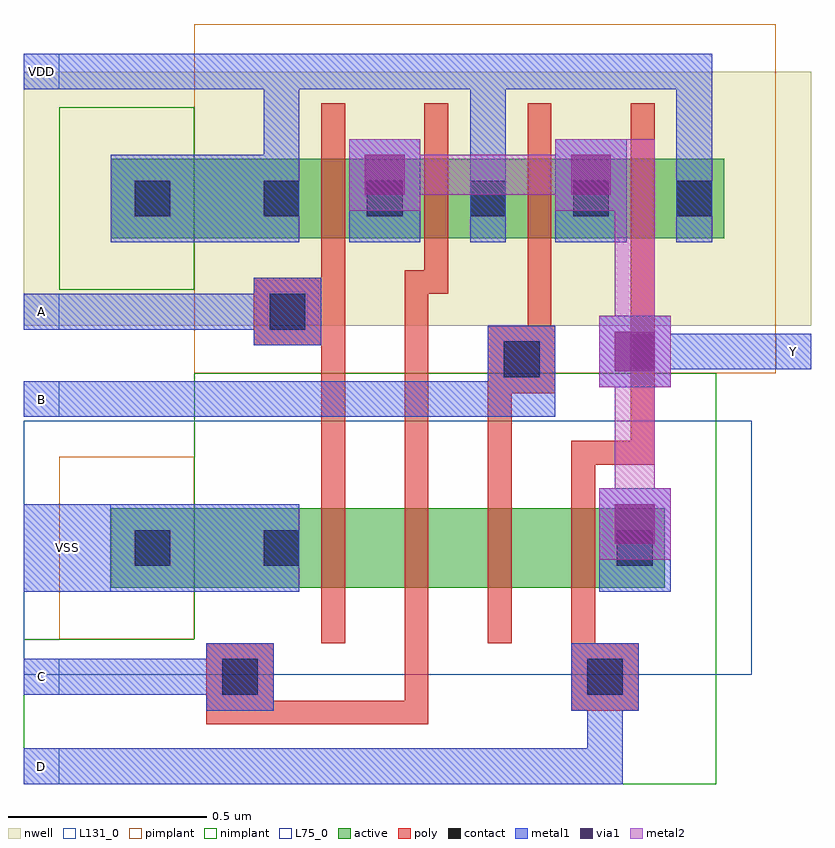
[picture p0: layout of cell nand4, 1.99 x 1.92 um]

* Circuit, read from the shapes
.subckt nand4 A B C D VDD VSS Y
M1 n1 A VSS VSS nfet w=0.2u l=0.06u
M2 n2 C n1 VSS nfet w=0.2u l=0.06u
M3 n3 B n2 VSS nfet w=0.2u l=0.06u
M4 Y D n3 VSS nfet w=0.2u l=0.06u
M5 Y A VDD VDD pfet w=0.2u l=0.06u
M6 VDD C Y VDD pfet w=0.2u l=0.06u
M7 Y B VDD VDD pfet w=0.2u l=0.06u
M8 VDD D Y VDD pfet w=0.2u l=0.06u
.ends

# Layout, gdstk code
from math import pi, radians
import gdstk
lib = gdstk.Library(unit=1e-6, precision=1e-09)
def R(c, l, rs):  # rectangles x0, y0, x1, y1
    for r in rs: c.add(gdstk.rectangle(r[:2], r[2:], *l))
nwell = (3, 0)
active = (6, 0)
poly = (17, 0)
pimplant = (25, 0)
nimplant = (26, 0)
contact = (30, 0)
metal1 = (31, 0)
metal2 = (32, 0)
via1 = (51, 0)
L75_0 = (75, 0)
L131_0 = (131, 0)

pch_cdns_683789228350 = lib.new_cell('pch_CDNS_683789228350')
R(pch_cdns_683789228350, nwell, [(-0.395,-0.22,0.305,0.42)])
R(pch_cdns_683789228350, active, [(-0.175,0,0,0.2), (0,0,0.06,0.2), (0.06,0,0.085,0.2)])
R(pch_cdns_683789228350, poly, [(0,-0.14,0.06,0), (0,0,0.06,0.2), (0,0.2,0.06,0.34)])
R(pch_cdns_683789228350, pimplant, [(-0.305,-0.34,0.215,0.54)])
R(pch_cdns_683789228350, contact, [(-0.145,0.055,-0.055,0.145)])
R(pch_cdns_683789228350, metal1, [(-0.145,-0.01,-0.055,0.21)])
pch_cdns_683789228350.add(gdstk.Label('& SerialNumber 000000', (0,0), layer=63, texttype=63))
pch_cdns_683789228350.add(gdstk.Label('& Distributor TSMC', (0,0), layer=63, texttype=63))
pch_cdns_683789228350.add(gdstk.Label('& Metric 1', (0,0), layer=63, texttype=63))
pch_cdns_683789228350.add(gdstk.Label('& PDK TechNode "CRN65LP"', (0,0), layer=63, texttype=63))
pch_cdns_683789228350.add(gdstk.Label('& Product    tsmcN65_PDK', (0,0), layer=63, texttype=63))
pch_cdns_683789228350.add(gdstk.Label('& Vendor     Taiwan Semiconductor manufacturing Corp.', (0,0), layer=63, texttype=63))
pch_cdns_683789228350.add(gdstk.Label('[@instanceName]', (0.03,0.1), layer=127, texttype=0))
pch_cdns_683789228350.add(gdstk.Label('pch\n0.2/0.06\n', (0,0), layer=127, texttype=0))
pch_cdns_683789228350.add(gdstk.Label('S', (-0.1,0.1), layer=127, texttype=0))

nch_cdns_683789228351 = lib.new_cell('nch_CDNS_683789228351')
R(nch_cdns_683789228351, active, [(-0.53,0,-0.32,0.2), (-0.32,0,0,0.2), (0,0,0.06,0.2), (0.06,0,0.135,0.2)])
R(nch_cdns_683789228351, poly, [(0,-0.14,0.06,0), (0,0,0.06,0.2), (0,0.2,0.06,0.34)])
R(nch_cdns_683789228351, pimplant, [(-0.66,-0.13,-0.32,0.33)])
R(nch_cdns_683789228351, nimplant, [(-0.32,-0.34,0.265,0.54)])
R(nch_cdns_683789228351, contact, [(-0.47,0.055,-0.38,0.145), (-0.145,0.055,-0.055,0.145)])
R(nch_cdns_683789228351, metal1, [(-0.32,-0.01,-0.145,0.21), (-0.145,-0.01,-0.055,0.21)])
R(nch_cdns_683789228351, L75_0, [(-0.75,-0.22,0.355,0.42)])
nch_cdns_683789228351.add(gdstk.FlexPath([(-0.425,-0.01),(-0.425,0.21)], 0.21, ends="flush", simple_path=True, layer=31, datatype=0))  # metal1
nch_cdns_683789228351.add(gdstk.Label('& SerialNumber 000000', (0,0), layer=63, texttype=63))
nch_cdns_683789228351.add(gdstk.Label('& Distributor TSMC', (0,0), layer=63, texttype=63))
nch_cdns_683789228351.add(gdstk.Label('& Metric 1', (0,0), layer=63, texttype=63))
nch_cdns_683789228351.add(gdstk.Label('& PDK TechNode "CRN65LP"', (0,0), layer=63, texttype=63))
nch_cdns_683789228351.add(gdstk.Label('& Product    tsmcN65_PDK', (0,0), layer=63, texttype=63))
nch_cdns_683789228351.add(gdstk.Label('& Vendor     Taiwan Semiconductor manufacturing Corp.', (0,0), layer=63, texttype=63))
nch_cdns_683789228351.add(gdstk.Label('[@instanceName]', (0.03,0.1), layer=127, texttype=0))
nch_cdns_683789228351.add(gdstk.Label('nch\n0.2/0.06\n', (0,0), layer=127, texttype=0))
nch_cdns_683789228351.add(gdstk.Label('B', (-0.425,0.1), layer=127, texttype=0))
nch_cdns_683789228351.add(gdstk.Label('S', (-0.1,0.1), layer=127, texttype=0))

pch_cdns_683789228352 = lib.new_cell('pch_CDNS_683789228352')
R(pch_cdns_683789228352, nwell, [(-0.75,-0.22,0.455,0.42)])
R(pch_cdns_683789228352, active, [(-0.53,0,-0.32,0.2), (-0.32,0,0,0.2), (0,0,0.06,0.2), (0.06,0,0.235,0.2)])
R(pch_cdns_683789228352, poly, [(0,-0.14,0.06,0), (0,0,0.06,0.2), (0,0.2,0.06,0.34)])
R(pch_cdns_683789228352, pimplant, [(-0.32,-0.34,0.365,0.54)])
R(pch_cdns_683789228352, nimplant, [(-0.66,-0.13,-0.32,0.33)])
R(pch_cdns_683789228352, contact, [(-0.47,0.055,-0.38,0.145), (-0.145,0.055,-0.055,0.145), (0.115,0.055,0.205,0.145)])
R(pch_cdns_683789228352, metal1, [(-0.32,-0.01,-0.145,0.21), (-0.145,-0.01,-0.055,0.21), (0.115,-0.01,0.205,0.21)])
pch_cdns_683789228352.add(gdstk.FlexPath([(-0.425,-0.01),(-0.425,0.21)], 0.21, ends="flush", simple_path=True, layer=31, datatype=0))  # metal1
pch_cdns_683789228352.add(gdstk.Label('& SerialNumber 000000', (0,0), layer=63, texttype=63))
pch_cdns_683789228352.add(gdstk.Label('& Distributor TSMC', (0,0), layer=63, texttype=63))
pch_cdns_683789228352.add(gdstk.Label('& Metric 1', (0,0), layer=63, texttype=63))
pch_cdns_683789228352.add(gdstk.Label('& PDK TechNode "CRN65LP"', (0,0), layer=63, texttype=63))
pch_cdns_683789228352.add(gdstk.Label('& Product    tsmcN65_PDK', (0,0), layer=63, texttype=63))
pch_cdns_683789228352.add(gdstk.Label('& Vendor     Taiwan Semiconductor manufacturing Corp.', (0,0), layer=63, texttype=63))
pch_cdns_683789228352.add(gdstk.Label('[@instanceName]', (0.03,0.1), layer=127, texttype=0))
pch_cdns_683789228352.add(gdstk.Label('pch\n0.2/0.06\n', (0,0), layer=127, texttype=0))
pch_cdns_683789228352.add(gdstk.Label('B', (-0.425,0.1), layer=127, texttype=0))
pch_cdns_683789228352.add(gdstk.Label('D', (0.16,0.1), layer=127, texttype=0))
pch_cdns_683789228352.add(gdstk.Label('S', (-0.1,0.1), layer=127, texttype=0))

nch_cdns_683789228353 = lib.new_cell('nch_CDNS_683789228353')
R(nch_cdns_683789228353, active, [(-0.075,0,0,0.2), (0,0,0.06,0.2), (0.06,0,0.235,0.2)])
R(nch_cdns_683789228353, poly, [(0,-0.14,0.06,0), (0,0,0.06,0.2), (0,0.2,0.06,0.34)])
R(nch_cdns_683789228353, nimplant, [(-0.205,-0.34,0.365,0.54)])
R(nch_cdns_683789228353, contact, [(0.115,0.055,0.205,0.145)])
R(nch_cdns_683789228353, metal1, [(0.115,-0.01,0.205,0.21)])
R(nch_cdns_683789228353, L75_0, [(-0.295,-0.22,0.455,0.42)])
nch_cdns_683789228353.add(gdstk.Label('& SerialNumber 000000', (0,0), layer=63, texttype=63))
nch_cdns_683789228353.add(gdstk.Label('& Distributor TSMC', (0,0), layer=63, texttype=63))
nch_cdns_683789228353.add(gdstk.Label('& Metric 1', (0,0), layer=63, texttype=63))
nch_cdns_683789228353.add(gdstk.Label('& PDK TechNode "CRN65LP"', (0,0), layer=63, texttype=63))
nch_cdns_683789228353.add(gdstk.Label('& Product    tsmcN65_PDK', (0,0), layer=63, texttype=63))
nch_cdns_683789228353.add(gdstk.Label('& Vendor     Taiwan Semiconductor manufacturing Corp.', (0,0), layer=63, texttype=63))
nch_cdns_683789228353.add(gdstk.Label('[@instanceName]', (0.03,0.1), layer=127, texttype=0))
nch_cdns_683789228353.add(gdstk.Label('nch\n0.2/0.06\n', (0,0), layer=127, texttype=0))
nch_cdns_683789228353.add(gdstk.Label('D', (0.16,0.1), layer=127, texttype=0))

pch_cdns_683789228354 = lib.new_cell('pch_CDNS_683789228354')
R(pch_cdns_683789228354, nwell, [(-0.395,-0.22,0.455,0.42)])
R(pch_cdns_683789228354, active, [(-0.175,0,0,0.2), (0,0,0.06,0.2), (0.06,0,0.235,0.2)])
R(pch_cdns_683789228354, poly, [(0,-0.14,0.06,0), (0,0,0.06,0.2), (0,0.2,0.06,0.34)])
R(pch_cdns_683789228354, pimplant, [(-0.305,-0.34,0.365,0.54)])
R(pch_cdns_683789228354, contact, [(-0.145,0.055,-0.055,0.145), (0.115,0.055,0.205,0.145)])
R(pch_cdns_683789228354, metal1, [(-0.145,-0.01,-0.055,0.21), (0.115,-0.01,0.205,0.21)])
pch_cdns_683789228354.add(gdstk.Label('& SerialNumber 000000', (0,0), layer=63, texttype=63))
pch_cdns_683789228354.add(gdstk.Label('& Distributor TSMC', (0,0), layer=63, texttype=63))
pch_cdns_683789228354.add(gdstk.Label('& Metric 1', (0,0), layer=63, texttype=63))
pch_cdns_683789228354.add(gdstk.Label('& PDK TechNode "CRN65LP"', (0,0), layer=63, texttype=63))
pch_cdns_683789228354.add(gdstk.Label('& Product    tsmcN65_PDK', (0,0), layer=63, texttype=63))
pch_cdns_683789228354.add(gdstk.Label('& Vendor     Taiwan Semiconductor manufacturing Corp.', (0,0), layer=63, texttype=63))
pch_cdns_683789228354.add(gdstk.Label('[@instanceName]', (0.03,0.1), layer=127, texttype=0))
pch_cdns_683789228354.add(gdstk.Label('pch\n0.2/0.06\n', (0,0), layer=127, texttype=0))
pch_cdns_683789228354.add(gdstk.Label('D', (0.16,0.1), layer=127, texttype=0))
pch_cdns_683789228354.add(gdstk.Label('S', (-0.1,0.1), layer=127, texttype=0))

pch_cdns_683789228355 = lib.new_cell('pch_CDNS_683789228355')
R(pch_cdns_683789228355, nwell, [(-0.245,-0.22,0.305,0.42)])
R(pch_cdns_683789228355, active, [(-0.025,0,0,0.2), (0,0,0.06,0.2), (0.06,0,0.085,0.2)])
R(pch_cdns_683789228355, poly, [(0,-0.14,0.06,0), (0,0,0.06,0.2), (0,0.2,0.06,0.34)])
R(pch_cdns_683789228355, pimplant, [(-0.155,-0.34,0.215,0.54)])
pch_cdns_683789228355.add(gdstk.Label('& SerialNumber 000000', (0,0), layer=63, texttype=63))
pch_cdns_683789228355.add(gdstk.Label('& Distributor TSMC', (0,0), layer=63, texttype=63))
pch_cdns_683789228355.add(gdstk.Label('& Metric 1', (0,0), layer=63, texttype=63))
pch_cdns_683789228355.add(gdstk.Label('& PDK TechNode "CRN65LP"', (0,0), layer=63, texttype=63))
pch_cdns_683789228355.add(gdstk.Label('& Product    tsmcN65_PDK', (0,0), layer=63, texttype=63))
pch_cdns_683789228355.add(gdstk.Label('& Vendor     Taiwan Semiconductor manufacturing Corp.', (0,0), layer=63, texttype=63))
pch_cdns_683789228355.add(gdstk.Label('[@instanceName]', (0.03,0.1), layer=127, texttype=0))
pch_cdns_683789228355.add(gdstk.Label('pch\n0.2/0.06\n', (0,0), layer=127, texttype=0))

nch_cdns_683789228356 = lib.new_cell('nch_CDNS_683789228356')
R(nch_cdns_683789228356, active, [(-0.075,0,0,0.2), (0,0,0.06,0.2), (0.06,0,0.135,0.2)])
R(nch_cdns_683789228356, poly, [(0,-0.14,0.06,0), (0,0,0.06,0.2), (0,0.2,0.06,0.34)])
R(nch_cdns_683789228356, nimplant, [(-0.205,-0.34,0.265,0.54)])
R(nch_cdns_683789228356, L75_0, [(-0.295,-0.22,0.355,0.42)])
nch_cdns_683789228356.add(gdstk.Label('& SerialNumber 000000', (0,0), layer=63, texttype=63))
nch_cdns_683789228356.add(gdstk.Label('& Distributor TSMC', (0,0), layer=63, texttype=63))
nch_cdns_683789228356.add(gdstk.Label('& Metric 1', (0,0), layer=63, texttype=63))
nch_cdns_683789228356.add(gdstk.Label('& PDK TechNode "CRN65LP"', (0,0), layer=63, texttype=63))
nch_cdns_683789228356.add(gdstk.Label('& Product    tsmcN65_PDK', (0,0), layer=63, texttype=63))
nch_cdns_683789228356.add(gdstk.Label('& Vendor     Taiwan Semiconductor manufacturing Corp.', (0,0), layer=63, texttype=63))
nch_cdns_683789228356.add(gdstk.Label('[@instanceName]', (0.03,0.1), layer=127, texttype=0))
nch_cdns_683789228356.add(gdstk.Label('nch\n0.2/0.06\n', (0,0), layer=127, texttype=0))

m2_m1_cdns_683789228350 = lib.new_cell('M2_M1_CDNS_683789228350')
R(m2_m1_cdns_683789228350, metal1, [(-0.09,-0.09,0.09,0.09)])
R(m2_m1_cdns_683789228350, metal2, [(-0.09,-0.09,0.09,0.09)])
R(m2_m1_cdns_683789228350, via1, [(-0.05,-0.05,0.05,0.05)])

m1_po_cdns_683789228351 = lib.new_cell('M1_PO_CDNS_683789228351')
R(m1_po_cdns_683789228351, poly, [(-0.085,-0.085,0.085,0.085)])
R(m1_po_cdns_683789228351, contact, [(-0.045,-0.045,0.045,0.045)])
R(m1_po_cdns_683789228351, metal1, [(-0.085,-0.085,0.085,0.085)])

nand4 = lib.new_cell('nand4')
R(nand4, nimplant, [(0,0.095,1.745,0.25), (0,0.25,0.43,0.46)])
R(nand4, metal1, [(1.45,0.58,1.63,0.84), (0.82,1.46,1,1.72), (1.34,1.46,1.52,1.72)])
R(nand4, L131_0, [(0,0.095,0.09,0.185), (0,0.32,0.09,0.41), (0,0.58,0.22,0.8), (0,1.02,0.09,1.11), (1.895,1.14,1.985,1.23), (0,1.24,0.09,1.33), (0,1.845,0.09,1.935)])
nand4.add(gdstk.FlexPath([(0,0.14),(1.465,0.14)], 0.09, ends=(0, 0.045), simple_path=True, layer=31, datatype=0))  # metal1
nand4.add(gdstk.FlexPath([(1.465,0.14),(1.465,0.365)], 0.09, ends=(0.045, 0), simple_path=True, layer=31, datatype=0))  # metal1
nand4.add(gdstk.FlexPath([(0.59,0.365),(0,0.365)], 0.09, ends="flush", simple_path=True, layer=31, datatype=0))  # metal1
nand4.add(gdstk.FlexPath([(0,1.065),(1.34,1.065)], 0.09, ends="flush", simple_path=True, layer=31, datatype=0))  # metal1
nand4.add(gdstk.FlexPath([(0.665,1.285),(0,1.285)], 0.09, ends="flush", simple_path=True, layer=31, datatype=0))  # metal1
nand4.add(gdstk.FlexPath([(1.69,1.89),(1.17,1.89)], 0.09, ends="extended", simple_path=True, layer=31, datatype=0))  # metal1
nand4.add(gdstk.FlexPath([(1.69,1.68),(1.69,1.89)], 0.09, ends=(0, 0.045), simple_path=True, layer=31, datatype=0))  # metal1
nand4.add(gdstk.FlexPath([(1.17,1.89),(1.17,1.68)], 0.09, ends=(0.045, 0), simple_path=True, layer=31, datatype=0))  # metal1
nand4.add(gdstk.FlexPath([(0.65,1.89),(1.17,1.89)], 0.09, ends="extended", simple_path=True, layer=31, datatype=0))  # metal1
nand4.add(gdstk.FlexPath([(0.65,1.68),(0.65,1.89)], 0.09, ends=(0, 0.045), simple_path=True, layer=31, datatype=0))  # metal1
nand4.add(gdstk.FlexPath([(0.275,0.69),(0,0.69)], 0.22, ends="flush", simple_path=True, layer=31, datatype=0))  # metal1
nand4.add(gdstk.FlexPath([(0.65,1.89),(0,1.89)], 0.09, ends=(0.045, 0), simple_path=True, layer=31, datatype=0))  # metal1
nand4.add(gdstk.FlexPath([(1.985,1.185),(1.54,1.185)], 0.09, ends="flush", simple_path=True, layer=31, datatype=0))  # metal1
nand4.add(gdstk.FlexPath([(1.2,1.135),(1.2,0.93)], 0.06, ends=(0.03, 0), simple_path=True, layer=17, datatype=0))  # poly
nand4.add(gdstk.FlexPath([(1.3,1.135),(1.2,1.135)], 0.06, ends="extended", simple_path=True, layer=17, datatype=0))  # poly
nand4.add(gdstk.FlexPath([(1.3,1.33),(1.3,1.135)], 0.06, ends=(0, 0.03), simple_path=True, layer=17, datatype=0))  # poly
nand4.add(gdstk.FlexPath([(1.56,0.93),(1.38,0.93)], 0.06, ends=(0.03, 0), simple_path=True, layer=17, datatype=0))  # poly
nand4.add(gdstk.FlexPath([(1.56,1.33),(1.56,0.93)], 0.06, ends=(0, 0.03), simple_path=True, layer=17, datatype=0))  # poly
nand4.add(gdstk.FlexPath([(0.99,1.36),(1.07,1.36)], 0.06, ends=(0.03, 0), simple_path=True, layer=17, datatype=0))  # poly
nand4.add(gdstk.FlexPath([(0.99,0.93),(0.99,1.36)], 0.06, ends=(0, 0.03), simple_path=True, layer=17, datatype=0))  # poly
nand4.add(gdstk.FlexPath([(0.78,1.33),(0.78,0.93)], 0.06, ends="flush", simple_path=True, layer=17, datatype=0))  # poly
nand4.add(gdstk.FlexPath([(0.99,0.275),(0.46,0.275)], 0.06, ends=(0.03, 0), simple_path=True, layer=17, datatype=0))  # poly
nand4.add(gdstk.FlexPath([(0.99,0.45),(0.99,0.275)], 0.06, ends=(0, 0.03), simple_path=True, layer=17, datatype=0))  # poly
nand4.add(gdstk.FlexPath([(1.54,1.185),(1.54,1.72)], 0.1, ends="flush", simple_path=True, layer=32, datatype=0))  # metal2
nand4.add(gdstk.FlexPath([(1.54,0.75),(1.54,1.185)], 0.1, ends="flush", simple_path=True, layer=32, datatype=0))  # metal2
nand4.add(gdstk.FlexPath([(0.91,1.63),(1.43,1.63)], 0.1, ends="flush", simple_path=True, layer=32, datatype=0))  # metal2
nand4.add(gdstk.Reference(pch_cdns_683789228350, (1.07,1.47), rotation=pi, x_reflection=True))
nand4.add(gdstk.Reference(nch_cdns_683789228351, (0.75,0.59)))
nand4.add(gdstk.Reference(pch_cdns_683789228352, (0.75,1.47)))
nand4.add(gdstk.Reference(nch_cdns_683789228353, (1.38,0.59)))
nand4.add(gdstk.Reference(pch_cdns_683789228354, (1.59,1.47), rotation=pi, x_reflection=True))
nand4.add(gdstk.Reference(pch_cdns_683789228355, (1.27,1.47)))
nand4.add(gdstk.Reference(nch_cdns_683789228356, (0.96,0.59)))
nand4.add(gdstk.Reference(nch_cdns_683789228356, (1.17,0.59)))
nand4.add(gdstk.Reference(m2_m1_cdns_683789228350, (1.54,1.185)))
nand4.add(gdstk.Reference(m2_m1_cdns_683789228350, (1.54,0.75)))
nand4.add(gdstk.Reference(m2_m1_cdns_683789228350, (1.43,1.63)))
nand4.add(gdstk.Reference(m2_m1_cdns_683789228350, (0.91,1.63)))
nand4.add(gdstk.Reference(m1_po_cdns_683789228351, (1.465,0.365)))
nand4.add(gdstk.Reference(m1_po_cdns_683789228351, (1.255,1.165)))
nand4.add(gdstk.Reference(m1_po_cdns_683789228351, (0.545,0.365)))
nand4.add(gdstk.Reference(m1_po_cdns_683789228351, (0.665,1.285)))
nand4.add(gdstk.Label('VSS', (0.11,0.69), layer=131, texttype=0))
nand4.add(gdstk.Label('VDD', (0.045,1.89), layer=131, texttype=0))
nand4.add(gdstk.Label('B', (0.045,1.065), layer=131, texttype=0))
nand4.add(gdstk.Label('D', (0.045,0.14), layer=131, texttype=0))
nand4.add(gdstk.Label('A', (0.045,1.285), layer=131, texttype=0))
nand4.add(gdstk.Label('C', (0.045,0.365), layer=131, texttype=0))
nand4.add(gdstk.Label('Y', (1.94,1.185), layer=131, texttype=0))

lib.write_gds('nand4.gds')
